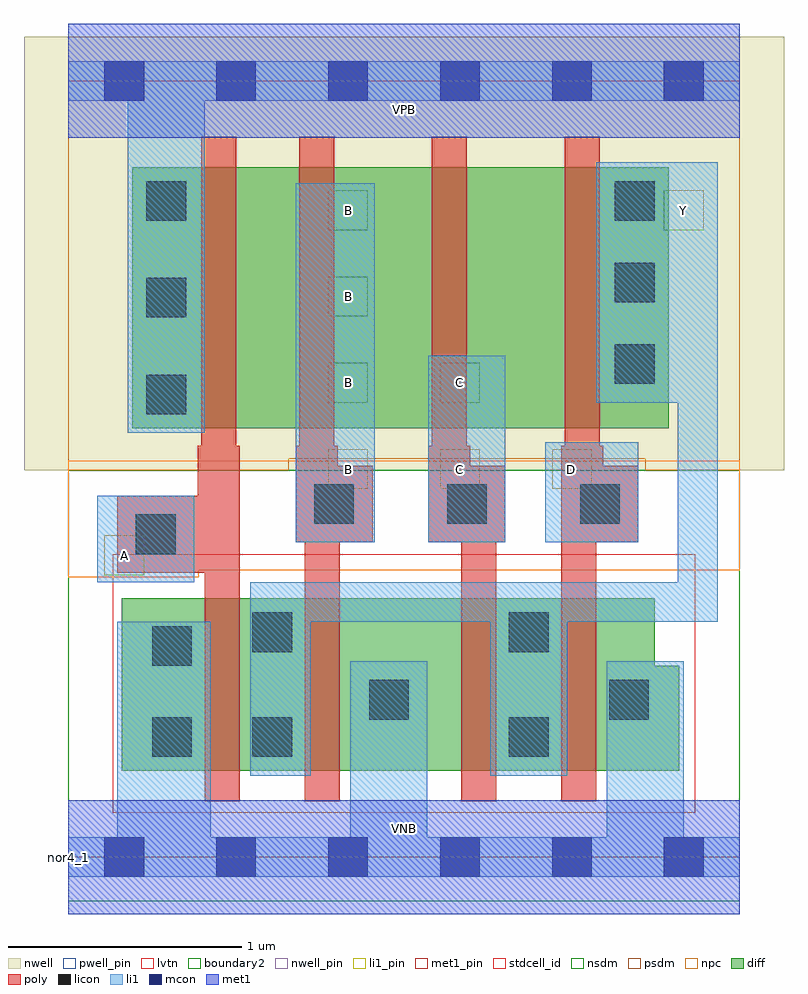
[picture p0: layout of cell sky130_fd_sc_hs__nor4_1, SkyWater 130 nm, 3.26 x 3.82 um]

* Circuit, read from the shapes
.subckt sky130_fd_sc_hs__nor4_1 A B C D VGND VNB VPB VPWR Y
XM1 Y A VGND VNB sky130_fd_pr__nfet_01v8_lvt w=0.74 l=0.15
XM2 VGND B Y VNB sky130_fd_pr__nfet_01v8_lvt w=0.74 l=0.15
XM3 Y C VGND VNB sky130_fd_pr__nfet_01v8_lvt w=0.74 l=0.15
XM4 VGND D Y VNB sky130_fd_pr__nfet_01v8_lvt w=0.74 l=0.15
XM5 n1 A VPWR VPB sky130_fd_pr__pfet_01v8 w=1.12 l=0.15
XM6 n2 B n1 VPB sky130_fd_pr__pfet_01v8 w=1.12 l=0.15
XM7 n3 C n2 VPB sky130_fd_pr__pfet_01v8 w=1.12 l=0.15
XM8 Y D n3 VPB sky130_fd_pr__pfet_01v8 w=1.12 l=0.15
.ends

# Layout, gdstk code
import gdstk
lib = gdstk.Library(unit=1e-6, precision=1e-09)
def R(c, l, rs):  # rectangles x0, y0, x1, y1
    for r in rs: c.add(gdstk.rectangle(r[:2], r[2:], *l))
def A(c, l, x, y, w, h, nx, ny, dx, dy):  # array of equal rectangles
    R(c, l, [(x+i*dx, y+j*dy, x+i*dx+w, y+j*dy+h) for i in range(nx) for j in range(ny)])
def P(c, l, *ps):  # polygons
    for p in ps: c.add(gdstk.Polygon(p, *l))
nwell_pin = (64, 16)
nwell = (64, 20)
diff = (65, 20)
poly = (66, 20)
licon = (66, 44)
li1_pin = (67, 16)
li1 = (67, 20)
mcon = (67, 44)
met1_pin = (68, 16)
met1 = (68, 20)
stdcell_id = (81, 4)
nsdm = (93, 44)
psdm = (94, 20)
npc = (95, 20)
pwell_pin = (122, 16)
lvtn = (125, 44)
boundary2 = (236, 0)

sky130_fd_sc_hs__nor4_1 = lib.new_cell('sky130_fd_sc_hs__nor4_1')
R(sky130_fd_sc_hs__nor4_1, nwell_pin, [(0,3.085,2.88,3.33)])
R(sky130_fd_sc_hs__nor4_1, nwell, [(-0.19,1.66,3.07,3.52)])
R(sky130_fd_sc_hs__nor4_1, diff, [(0.275,1.84,2.575,2.96)])
P(sky130_fd_sc_hs__nor4_1, diff, [(2.62,0.82),(2.515,0.82),(2.515,1.11),(0.23,1.11),(0.23,0.37),(2.62,0.37)])
P(sky130_fd_sc_hs__nor4_1, poly, [(2.445,1.68),(2.295,1.68),(2.295,1.765),(2.28,1.765),(2.28,3.09),(2.13,3.09),(2.13,1.765),(2.115,1.765),(2.115,0.24),(2.265,0.24),(2.265,1.35),(2.445,1.35)],
  [(1.875,1.68),(1.725,1.68),(1.725,1.765),(1.71,1.765),(1.71,3.09),(1.56,3.09),(1.56,1.765),(1.545,1.765),(1.545,1.35),(1.685,1.35),(1.685,0.24),(1.835,0.24),(1.835,1.35),(1.875,1.35)],
  [(1.305,1.68),(1.155,1.68),(1.155,1.765),(1.14,1.765),(1.14,3.09),(0.99,3.09),(0.99,1.765),(0.975,1.765),(0.975,1.35),(1.015,1.35),(1.015,0.24),(1.165,0.24),(1.165,1.35),(1.305,1.35)],
  [(0.735,1.765),(0.72,1.765),(0.72,3.09),(0.57,3.09),(0.57,1.765),(0.555,1.765),(0.555,1.55),(0.21,1.55),(0.21,1.22),(0.585,1.22),(0.585,0.24),(0.735,0.24)])
A(sky130_fd_sc_hs__nor4_1, licon, 1.055, 1.43, 0.17, 0.17, 3, 1, 0.57, 0)
A(sky130_fd_sc_hs__nor4_1, licon, 0.335, 1.9, 0.17, 0.17, 1, 3, 0, 0.415)
A(sky130_fd_sc_hs__nor4_1, licon, 2.345, 2.03, 0.17, 0.17, 1, 3, 0, 0.35)
R(sky130_fd_sc_hs__nor4_1, licon, [(0.36,0.43,0.53,0.6), (0.79,0.43,0.96,0.6), (1.89,0.43,2.06,0.6), (1.29,0.59,1.46,0.76), (2.32,0.59,2.49,0.76), (0.36,0.82,0.53,0.99), (0.79,0.88,0.96,1.05), (1.89,0.88,2.06,1.05), (0.29,1.3,0.46,1.47)])
A(sky130_fd_sc_hs__nor4_1, li1_pin, 1.115, 1.58, 0.17, 0.17, 3, 1, 0.48, 0)
A(sky130_fd_sc_hs__nor4_1, li1_pin, 1.115, 1.95, 0.17, 0.17, 1, 3, 0, 0.37)
R(sky130_fd_sc_hs__nor4_1, li1_pin, [(0.155,1.21,0.325,1.38), (1.595,1.95,1.765,2.12), (2.555,2.69,2.725,2.86)])
R(sky130_fd_sc_hs__nor4_1, li1, [(0.125,1.18,0.54,1.55), (0.975,1.35,1.315,2.89), (1.545,1.35,1.875,2.15), (2.045,1.35,2.445,1.78)])
P(sky130_fd_sc_hs__nor4_1, li1, [(0.255,1.82),(0.255,3.245),(0,3.245),(0,3.415),(2.88,3.415),(2.88,3.245),(0.585,3.245),(0.585,1.82)],
  [(2.31,0.085),(2.31,0.84),(2.64,0.84),(2.64,0.085),(2.88,0.085),(2.88,-0.085),(0,-0.085),(0,0.085),(0.21,0.085),(0.21,1.01),(0.61,1.01),(0.61,0.085),(1.21,0.085),(1.21,0.84),(1.54,0.84),(1.54,0.085)],
  [(2.265,1.95),(2.265,2.98),(2.785,2.98),(2.785,1.01),(2.14,1.01),(2.14,0.35),(1.81,0.35),(1.81,1.01),(1.04,1.01),(1.04,0.35),(0.78,0.35),(0.78,1.18),(2.615,1.18),(2.615,1.95)])
A(sky130_fd_sc_hs__nor4_1, mcon, 0.155, -0.085, 0.17, 0.17, 6, 2, 0.48, 3.33)
R(sky130_fd_sc_hs__nor4_1, met1_pin, [(0,0,2.88,0.245), (0,3.085,2.88,3.33)])
R(sky130_fd_sc_hs__nor4_1, met1, [(0,-0.245,2.88,0.245), (0,3.085,2.88,3.575)])
R(sky130_fd_sc_hs__nor4_1, stdcell_id, [(0,0,2.88,3.33)])
R(sky130_fd_sc_hs__nor4_1, nsdm, [(0,-0.19,2.88,1.66)])
P(sky130_fd_sc_hs__nor4_1, psdm, [(2.88,3.52),(0,3.52),(0,1.66),(0.945,1.66),(0.945,1.71),(2.475,1.71),(2.475,1.66),(2.88,1.66)])
P(sky130_fd_sc_hs__nor4_1, npc, [(2.88,1.7),(0,1.7),(0,1.2),(0.56,1.2),(0.56,1.23),(2.88,1.23)])
R(sky130_fd_sc_hs__nor4_1, pwell_pin, [(0,0,2.88,0.245)])
R(sky130_fd_sc_hs__nor4_1, lvtn, [(0.19,0.19,2.69,1.3)])
R(sky130_fd_sc_hs__nor4_1, boundary2, [(0,0,2.88,3.33)])
sky130_fd_sc_hs__nor4_1.add(gdstk.Label('nor4_1', (0,0), layer=83, texttype=44))
sky130_fd_sc_hs__nor4_1.add(gdstk.Label('VNB', (1.44,0.123), layer=64, texttype=59))
sky130_fd_sc_hs__nor4_1.add(gdstk.Label('VPB', (1.44,3.208), layer=64, texttype=5))
sky130_fd_sc_hs__nor4_1.add(gdstk.Label('VPWR', (1.44,3.208), layer=68, texttype=5))
sky130_fd_sc_hs__nor4_1.add(gdstk.Label('VGND', (1.44,0.123), layer=68, texttype=5))
sky130_fd_sc_hs__nor4_1.add(gdstk.Label('Y', (2.64,2.775), layer=67, texttype=5))
sky130_fd_sc_hs__nor4_1.add(gdstk.Label('D', (2.16,1.665), layer=67, texttype=5))
sky130_fd_sc_hs__nor4_1.add(gdstk.Label('C', (1.68,1.665), layer=67, texttype=5))
sky130_fd_sc_hs__nor4_1.add(gdstk.Label('C', (1.68,2.035), layer=67, texttype=5))
sky130_fd_sc_hs__nor4_1.add(gdstk.Label('B', (1.2,1.665), layer=67, texttype=5))
sky130_fd_sc_hs__nor4_1.add(gdstk.Label('B', (1.2,2.035), layer=67, texttype=5))
sky130_fd_sc_hs__nor4_1.add(gdstk.Label('B', (1.2,2.405), layer=67, texttype=5))
sky130_fd_sc_hs__nor4_1.add(gdstk.Label('B', (1.2,2.775), layer=67, texttype=5))
sky130_fd_sc_hs__nor4_1.add(gdstk.Label('A', (0.24,1.295), layer=67, texttype=5))

lib.write_gds('sky130_fd_sc_hs__nor4_1.gds')
